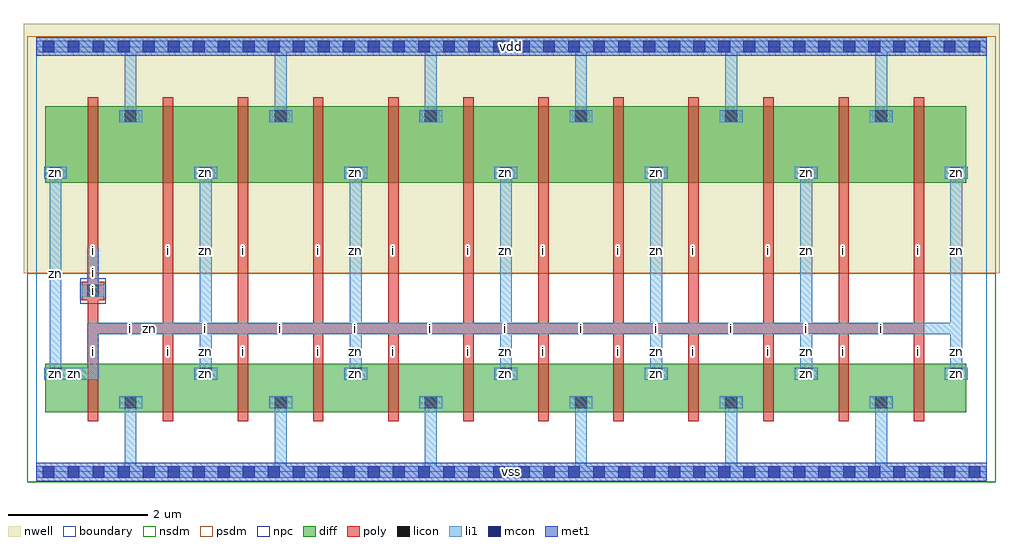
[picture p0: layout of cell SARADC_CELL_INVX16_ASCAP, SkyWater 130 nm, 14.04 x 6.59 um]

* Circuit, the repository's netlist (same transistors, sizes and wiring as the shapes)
* SARADC_CELL_INVX16_ASCAP (INVD12 of sky130f), cells/tools/build_cells.py
.SUBCKT SARADC_CELL_INVX16_ASCAP i vdd vss zn vnw vpw
MU1_M_u2_0 zn i vss vpw sky130_fd_pr__nfet_01v8 l=1.500e-07 w=7.000e-07 $pos=0 $flip=0
MU1_M_u2_1 zn i vss vpw sky130_fd_pr__nfet_01v8 l=1.500e-07 w=7.000e-07 $pos=1 $flip=1
MU1_M_u2_2 zn i vss vpw sky130_fd_pr__nfet_01v8 l=1.500e-07 w=7.000e-07 $pos=2 $flip=0
MU1_M_u2_3 zn i vss vpw sky130_fd_pr__nfet_01v8 l=1.500e-07 w=7.000e-07 $pos=3 $flip=1
MU1_M_u2_4 zn i vss vpw sky130_fd_pr__nfet_01v8 l=1.500e-07 w=7.000e-07 $pos=4 $flip=0
MU1_M_u2_5 zn i vss vpw sky130_fd_pr__nfet_01v8 l=1.500e-07 w=7.000e-07 $pos=5 $flip=1
MU1_M_u2_6 zn i vss vpw sky130_fd_pr__nfet_01v8 l=1.500e-07 w=7.000e-07 $pos=6 $flip=0
MU1_M_u2_7 zn i vss vpw sky130_fd_pr__nfet_01v8 l=1.500e-07 w=7.000e-07 $pos=7 $flip=1
MU1_M_u2_8 zn i vss vpw sky130_fd_pr__nfet_01v8 l=1.500e-07 w=7.000e-07 $pos=8 $flip=0
MU1_M_u2_9 zn i vss vpw sky130_fd_pr__nfet_01v8 l=1.500e-07 w=7.000e-07 $pos=9 $flip=1
MU1_M_u2_10 zn i vss vpw sky130_fd_pr__nfet_01v8 l=1.500e-07 w=7.000e-07 $pos=10 $flip=0
MU1_M_u2_11 zn i vss vpw sky130_fd_pr__nfet_01v8 l=1.500e-07 w=7.000e-07 $pos=11 $flip=1
MU1_M_u3_0 zn i vdd vnw sky130_fd_pr__pfet_01v8 l=1.500e-07 w=1.100e-06 $pos=0 $flip=0
MU1_M_u3_1 zn i vdd vnw sky130_fd_pr__pfet_01v8 l=1.500e-07 w=1.100e-06 $pos=1 $flip=1
MU1_M_u3_2 zn i vdd vnw sky130_fd_pr__pfet_01v8 l=1.500e-07 w=1.100e-06 $pos=2 $flip=0
MU1_M_u3_3 zn i vdd vnw sky130_fd_pr__pfet_01v8 l=1.500e-07 w=1.100e-06 $pos=3 $flip=1
MU1_M_u3_4 zn i vdd vnw sky130_fd_pr__pfet_01v8 l=1.500e-07 w=1.100e-06 $pos=4 $flip=0
MU1_M_u3_5 zn i vdd vnw sky130_fd_pr__pfet_01v8 l=1.500e-07 w=1.100e-06 $pos=5 $flip=1
MU1_M_u3_6 zn i vdd vnw sky130_fd_pr__pfet_01v8 l=1.500e-07 w=1.100e-06 $pos=6 $flip=0
MU1_M_u3_7 zn i vdd vnw sky130_fd_pr__pfet_01v8 l=1.500e-07 w=1.100e-06 $pos=7 $flip=1
MU1_M_u3_8 zn i vdd vnw sky130_fd_pr__pfet_01v8 l=1.500e-07 w=1.100e-06 $pos=8 $flip=0
MU1_M_u3_9 zn i vdd vnw sky130_fd_pr__pfet_01v8 l=1.500e-07 w=1.100e-06 $pos=9 $flip=1
MU1_M_u3_10 zn i vdd vnw sky130_fd_pr__pfet_01v8 l=1.500e-07 w=1.100e-06 $pos=10 $flip=0
MU1_M_u3_11 zn i vdd vnw sky130_fd_pr__pfet_01v8 l=1.500e-07 w=1.100e-06 $pos=11 $flip=1
.ENDS

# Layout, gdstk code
import gdstk
lib = gdstk.Library(unit=1e-6, precision=1e-09)
def R(c, l, rs):  # rectangles x0, y0, x1, y1
    for r in rs: c.add(gdstk.rectangle(r[:2], r[2:], *l))
def A(c, l, x, y, w, h, nx, ny, dx, dy):  # array of equal rectangles
    R(c, l, [(x+i*dx, y+j*dy, x+i*dx+w, y+j*dy+h) for i in range(nx) for j in range(ny)])
L0_0 = (0, 0)
nwell = (64, 20)
diff = (65, 20)
poly = (66, 20)
licon = (66, 44)
li1 = (67, 20)
mcon = (67, 44)
met1 = (68, 20)
nsdm = (93, 44)
psdm = (94, 20)
npc = (95, 20)
boundary = (235, 4)

saradc_cell_invx16_ascap = lib.new_cell('SARADC_CELL_INVX16_ASCAP')
R(saradc_cell_invx16_ascap, nwell, [(-0.18,2.86,13.86,6.445)])
A(saradc_cell_invx16_ascap, diff, 0.135, 0.86, 1.37, 0.7, 12, 1, 1.08, 0)
A(saradc_cell_invx16_ascap, diff, 1.215, 0.86, 0.29, 0.29, 6, 2, 2.16, 4.11)
A(saradc_cell_invx16_ascap, diff, 0.135, 1.27, 0.29, 0.29, 7, 2, 2.16, 2.89)
A(saradc_cell_invx16_ascap, diff, 0.135, 4.16, 1.37, 1.1, 12, 1, 1.08, 0)
A(saradc_cell_invx16_ascap, poly, 0.745, 0.73, 0.15, 0.96, 12, 1, 1.08, 0)
A(saradc_cell_invx16_ascap, poly, 0.745, 1.34, 0.15, 0.8, 12, 1, 1.08, 0)
A(saradc_cell_invx16_ascap, poly, 0.745, 1.99, 1.23, 0.15, 11, 1, 1.08, 0)
A(saradc_cell_invx16_ascap, poly, 0.745, 1.99, 0.15, 2.39, 12, 1, 1.08, 0)
A(saradc_cell_invx16_ascap, poly, 0.745, 4.03, 0.15, 1.36, 12, 1, 1.08, 0)
R(saradc_cell_invx16_ascap, poly, [(0.655,2.47,0.985,2.74)])
A(saradc_cell_invx16_ascap, licon, 1.275, 0.92, 0.17, 0.17, 6, 2, 2.16, 4.11)
A(saradc_cell_invx16_ascap, licon, 0.195, 1.33, 0.17, 0.17, 7, 2, 2.16, 2.89)
R(saradc_cell_invx16_ascap, licon, [(0.735,2.52,0.905,2.69)])
A(saradc_cell_invx16_ascap, li1, 1.275, 0.06, 0.17, 1.03, 6, 2, 2.16, 4.97)
A(saradc_cell_invx16_ascap, li1, 1.195, 0.92, 0.33, 0.17, 6, 2, 2.16, 4.11)
A(saradc_cell_invx16_ascap, li1, 0.115, 1.33, 0.33, 0.17, 7, 2, 2.16, 2.89)
A(saradc_cell_invx16_ascap, li1, 2.355, 1.33, 0.17, 0.82, 6, 1, 2.16, 0)
A(saradc_cell_invx16_ascap, li1, 2.355, 1.98, 2.33, 0.17, 5, 1, 2.16, 0)
A(saradc_cell_invx16_ascap, li1, 2.355, 1.98, 0.17, 2.41, 6, 1, 2.16, 0)
R(saradc_cell_invx16_ascap, li1, [(0,-0.085,13.68,0.085), (0.195,1.33,0.905,1.5), (0.195,1.33,0.365,4.39), (0.735,1.33,0.905,2.15), (0.735,1.98,2.525,2.15), (0.655,2.52,0.985,2.69), (0.735,2.52,0.905,3.23), (0,6.035,13.68,6.205)])
A(saradc_cell_invx16_ascap, mcon, 0.095, -0.085, 0.17, 0.17, 38, 2, 0.36, 6.12)
R(saradc_cell_invx16_ascap, met1, [(0,-0.135,13.68,0.135), (0,5.985,13.68,6.255)])
R(saradc_cell_invx16_ascap, nsdm, [(-0.125,-0.145,13.805,0.145), (-0.125,0.145,13.805,2.86)])
R(saradc_cell_invx16_ascap, psdm, [(-0.125,2.86,13.805,5.975), (-0.125,5.975,13.805,6.265)])
R(saradc_cell_invx16_ascap, npc, [(0.635,2.42,1.005,2.79)])
R(saradc_cell_invx16_ascap, boundary, [(0,0,13.68,6.12)])
saradc_cell_invx16_ascap.add(gdstk.FlexPath([(0.115,0.355),(13.405,0.355)], 0, ends="flush", simple_path=True, layer=0, datatype=0))  # L0_0
saradc_cell_invx16_ascap.add(gdstk.FlexPath([(0.115,1.005),(13.405,1.005)], 0, ends="flush", simple_path=True, layer=0, datatype=0))  # L0_0
saradc_cell_invx16_ascap.add(gdstk.FlexPath([(0.115,1.415),(13.405,1.415)], 0, ends="flush", simple_path=True, layer=0, datatype=0))  # L0_0
saradc_cell_invx16_ascap.add(gdstk.FlexPath([(0.115,2.065),(13.405,2.065)], 0, ends="flush", simple_path=True, layer=0, datatype=0))  # L0_0
saradc_cell_invx16_ascap.add(gdstk.FlexPath([(0.115,2.605),(13.405,2.605)], 0, ends="flush", simple_path=True, layer=0, datatype=0))  # L0_0
saradc_cell_invx16_ascap.add(gdstk.FlexPath([(0.115,3.145),(13.405,3.145)], 0, ends="flush", simple_path=True, layer=0, datatype=0))  # L0_0
saradc_cell_invx16_ascap.add(gdstk.FlexPath([(0.115,4.305),(13.405,4.305)], 0, ends="flush", simple_path=True, layer=0, datatype=0))  # L0_0
saradc_cell_invx16_ascap.add(gdstk.FlexPath([(0.115,4.775),(13.405,4.775)], 0, ends="flush", simple_path=True, layer=0, datatype=0))  # L0_0
saradc_cell_invx16_ascap.add(gdstk.FlexPath([(0.115,5.115),(13.405,5.115)], 0, ends="flush", simple_path=True, layer=0, datatype=0))  # L0_0
saradc_cell_invx16_ascap.add(gdstk.FlexPath([(0.115,5.765),(13.405,5.765)], 0, ends="flush", simple_path=True, layer=0, datatype=0))  # L0_0
saradc_cell_invx16_ascap.add(gdstk.FlexPath([(0.28,0.06),(0.28,6.06)], 0, ends="flush", simple_path=True, layer=0, datatype=0))  # L0_0
saradc_cell_invx16_ascap.add(gdstk.FlexPath([(0.82,0.06),(0.82,6.06)], 0, ends="flush", simple_path=True, layer=0, datatype=0))  # L0_0
saradc_cell_invx16_ascap.add(gdstk.FlexPath([(1.36,0.06),(1.36,6.06)], 0, ends="flush", simple_path=True, layer=0, datatype=0))  # L0_0
saradc_cell_invx16_ascap.add(gdstk.FlexPath([(1.9,0.06),(1.9,6.06)], 0, ends="flush", simple_path=True, layer=0, datatype=0))  # L0_0
saradc_cell_invx16_ascap.add(gdstk.FlexPath([(2.44,0.06),(2.44,6.06)], 0, ends="flush", simple_path=True, layer=0, datatype=0))  # L0_0
saradc_cell_invx16_ascap.add(gdstk.FlexPath([(2.98,0.06),(2.98,6.06)], 0, ends="flush", simple_path=True, layer=0, datatype=0))  # L0_0
saradc_cell_invx16_ascap.add(gdstk.FlexPath([(3.52,0.06),(3.52,6.06)], 0, ends="flush", simple_path=True, layer=0, datatype=0))  # L0_0
saradc_cell_invx16_ascap.add(gdstk.FlexPath([(4.06,0.06),(4.06,6.06)], 0, ends="flush", simple_path=True, layer=0, datatype=0))  # L0_0
saradc_cell_invx16_ascap.add(gdstk.FlexPath([(4.6,0.06),(4.6,6.06)], 0, ends="flush", simple_path=True, layer=0, datatype=0))  # L0_0
saradc_cell_invx16_ascap.add(gdstk.FlexPath([(5.14,0.06),(5.14,6.06)], 0, ends="flush", simple_path=True, layer=0, datatype=0))  # L0_0
saradc_cell_invx16_ascap.add(gdstk.FlexPath([(5.68,0.06),(5.68,6.06)], 0, ends="flush", simple_path=True, layer=0, datatype=0))  # L0_0
saradc_cell_invx16_ascap.add(gdstk.FlexPath([(6.22,0.06),(6.22,6.06)], 0, ends="flush", simple_path=True, layer=0, datatype=0))  # L0_0
saradc_cell_invx16_ascap.add(gdstk.FlexPath([(6.76,0.06),(6.76,6.06)], 0, ends="flush", simple_path=True, layer=0, datatype=0))  # L0_0
saradc_cell_invx16_ascap.add(gdstk.FlexPath([(7.3,0.06),(7.3,6.06)], 0, ends="flush", simple_path=True, layer=0, datatype=0))  # L0_0
saradc_cell_invx16_ascap.add(gdstk.FlexPath([(7.84,0.06),(7.84,6.06)], 0, ends="flush", simple_path=True, layer=0, datatype=0))  # L0_0
saradc_cell_invx16_ascap.add(gdstk.FlexPath([(8.38,0.06),(8.38,6.06)], 0, ends="flush", simple_path=True, layer=0, datatype=0))  # L0_0
saradc_cell_invx16_ascap.add(gdstk.FlexPath([(8.92,0.06),(8.92,6.06)], 0, ends="flush", simple_path=True, layer=0, datatype=0))  # L0_0
saradc_cell_invx16_ascap.add(gdstk.FlexPath([(9.46,0.06),(9.46,6.06)], 0, ends="flush", simple_path=True, layer=0, datatype=0))  # L0_0
saradc_cell_invx16_ascap.add(gdstk.FlexPath([(10,0.06),(10,6.06)], 0, ends="flush", simple_path=True, layer=0, datatype=0))  # L0_0
saradc_cell_invx16_ascap.add(gdstk.FlexPath([(10.54,0.06),(10.54,6.06)], 0, ends="flush", simple_path=True, layer=0, datatype=0))  # L0_0
saradc_cell_invx16_ascap.add(gdstk.FlexPath([(11.08,0.06),(11.08,6.06)], 0, ends="flush", simple_path=True, layer=0, datatype=0))  # L0_0
saradc_cell_invx16_ascap.add(gdstk.FlexPath([(11.62,0.06),(11.62,6.06)], 0, ends="flush", simple_path=True, layer=0, datatype=0))  # L0_0
saradc_cell_invx16_ascap.add(gdstk.FlexPath([(12.16,0.06),(12.16,6.06)], 0, ends="flush", simple_path=True, layer=0, datatype=0))  # L0_0
saradc_cell_invx16_ascap.add(gdstk.FlexPath([(12.7,0.06),(12.7,6.06)], 0, ends="flush", simple_path=True, layer=0, datatype=0))  # L0_0
saradc_cell_invx16_ascap.add(gdstk.FlexPath([(13.24,0.06),(13.24,6.06)], 0, ends="flush", simple_path=True, layer=0, datatype=0))  # L0_0
saradc_cell_invx16_ascap.add(gdstk.Label('zn', (0.28,1.415), layer=65, texttype=20))
saradc_cell_invx16_ascap.add(gdstk.Label('zn', (2.44,1.415), layer=65, texttype=20))
saradc_cell_invx16_ascap.add(gdstk.Label('zn', (4.6,1.415), layer=65, texttype=20))
saradc_cell_invx16_ascap.add(gdstk.Label('zn', (6.76,1.415), layer=65, texttype=20))
saradc_cell_invx16_ascap.add(gdstk.Label('zn', (8.92,1.415), layer=65, texttype=20))
saradc_cell_invx16_ascap.add(gdstk.Label('zn', (11.08,1.415), layer=65, texttype=20))
saradc_cell_invx16_ascap.add(gdstk.Label('zn', (13.24,1.415), layer=65, texttype=20))
saradc_cell_invx16_ascap.add(gdstk.Label('zn', (0.28,4.305), layer=65, texttype=20))
saradc_cell_invx16_ascap.add(gdstk.Label('zn', (2.44,4.305), layer=65, texttype=20))
saradc_cell_invx16_ascap.add(gdstk.Label('zn', (4.6,4.305), layer=65, texttype=20))
saradc_cell_invx16_ascap.add(gdstk.Label('zn', (6.76,4.305), layer=65, texttype=20))
saradc_cell_invx16_ascap.add(gdstk.Label('zn', (8.92,4.305), layer=65, texttype=20))
saradc_cell_invx16_ascap.add(gdstk.Label('zn', (11.08,4.305), layer=65, texttype=20))
saradc_cell_invx16_ascap.add(gdstk.Label('zn', (13.24,4.305), layer=65, texttype=20))
saradc_cell_invx16_ascap.add(gdstk.Label('i', (0.82,1.74), layer=66, texttype=20))
saradc_cell_invx16_ascap.add(gdstk.Label('i', (1.36,2.065), layer=66, texttype=20))
saradc_cell_invx16_ascap.add(gdstk.Label('i', (1.9,1.74), layer=66, texttype=20))
saradc_cell_invx16_ascap.add(gdstk.Label('i', (2.44,2.065), layer=66, texttype=20))
saradc_cell_invx16_ascap.add(gdstk.Label('i', (2.98,1.74), layer=66, texttype=20))
saradc_cell_invx16_ascap.add(gdstk.Label('i', (3.52,2.065), layer=66, texttype=20))
saradc_cell_invx16_ascap.add(gdstk.Label('i', (4.06,1.74), layer=66, texttype=20))
saradc_cell_invx16_ascap.add(gdstk.Label('i', (4.6,2.065), layer=66, texttype=20))
saradc_cell_invx16_ascap.add(gdstk.Label('i', (5.14,1.74), layer=66, texttype=20))
saradc_cell_invx16_ascap.add(gdstk.Label('i', (5.68,2.065), layer=66, texttype=20))
saradc_cell_invx16_ascap.add(gdstk.Label('i', (6.22,1.74), layer=66, texttype=20))
saradc_cell_invx16_ascap.add(gdstk.Label('i', (6.76,2.065), layer=66, texttype=20))
saradc_cell_invx16_ascap.add(gdstk.Label('i', (7.3,1.74), layer=66, texttype=20))
saradc_cell_invx16_ascap.add(gdstk.Label('i', (7.84,2.065), layer=66, texttype=20))
saradc_cell_invx16_ascap.add(gdstk.Label('i', (8.38,1.74), layer=66, texttype=20))
saradc_cell_invx16_ascap.add(gdstk.Label('i', (8.92,2.065), layer=66, texttype=20))
saradc_cell_invx16_ascap.add(gdstk.Label('i', (9.46,1.74), layer=66, texttype=20))
saradc_cell_invx16_ascap.add(gdstk.Label('i', (10,2.065), layer=66, texttype=20))
saradc_cell_invx16_ascap.add(gdstk.Label('i', (10.54,1.74), layer=66, texttype=20))
saradc_cell_invx16_ascap.add(gdstk.Label('i', (11.08,2.065), layer=66, texttype=20))
saradc_cell_invx16_ascap.add(gdstk.Label('i', (11.62,1.74), layer=66, texttype=20))
saradc_cell_invx16_ascap.add(gdstk.Label('i', (12.16,2.065), layer=66, texttype=20))
saradc_cell_invx16_ascap.add(gdstk.Label('i', (12.7,1.74), layer=66, texttype=20))
saradc_cell_invx16_ascap.add(gdstk.Label('i', (0.82,3.185), layer=66, texttype=20))
saradc_cell_invx16_ascap.add(gdstk.Label('i', (1.9,3.185), layer=66, texttype=20))
saradc_cell_invx16_ascap.add(gdstk.Label('i', (2.98,3.185), layer=66, texttype=20))
saradc_cell_invx16_ascap.add(gdstk.Label('i', (4.06,3.185), layer=66, texttype=20))
saradc_cell_invx16_ascap.add(gdstk.Label('i', (5.14,3.185), layer=66, texttype=20))
saradc_cell_invx16_ascap.add(gdstk.Label('i', (6.22,3.185), layer=66, texttype=20))
saradc_cell_invx16_ascap.add(gdstk.Label('i', (7.3,3.185), layer=66, texttype=20))
saradc_cell_invx16_ascap.add(gdstk.Label('i', (8.38,3.185), layer=66, texttype=20))
saradc_cell_invx16_ascap.add(gdstk.Label('i', (9.46,3.185), layer=66, texttype=20))
saradc_cell_invx16_ascap.add(gdstk.Label('i', (10.54,3.185), layer=66, texttype=20))
saradc_cell_invx16_ascap.add(gdstk.Label('i', (11.62,3.185), layer=66, texttype=20))
saradc_cell_invx16_ascap.add(gdstk.Label('i', (12.7,3.185), layer=66, texttype=20))
saradc_cell_invx16_ascap.add(gdstk.Label('i', (0.82,2.605), layer=66, texttype=20))
saradc_cell_invx16_ascap.add(gdstk.Label('zn', (0.28,1.415), layer=66, texttype=44))
saradc_cell_invx16_ascap.add(gdstk.Label('zn', (2.44,1.415), layer=66, texttype=44))
saradc_cell_invx16_ascap.add(gdstk.Label('zn', (4.6,1.415), layer=66, texttype=44))
saradc_cell_invx16_ascap.add(gdstk.Label('zn', (6.76,1.415), layer=66, texttype=44))
saradc_cell_invx16_ascap.add(gdstk.Label('zn', (8.92,1.415), layer=66, texttype=44))
saradc_cell_invx16_ascap.add(gdstk.Label('zn', (11.08,1.415), layer=66, texttype=44))
saradc_cell_invx16_ascap.add(gdstk.Label('zn', (13.24,1.415), layer=66, texttype=44))
saradc_cell_invx16_ascap.add(gdstk.Label('zn', (0.28,4.305), layer=66, texttype=44))
saradc_cell_invx16_ascap.add(gdstk.Label('zn', (2.44,4.305), layer=66, texttype=44))
saradc_cell_invx16_ascap.add(gdstk.Label('zn', (4.6,4.305), layer=66, texttype=44))
saradc_cell_invx16_ascap.add(gdstk.Label('zn', (6.76,4.305), layer=66, texttype=44))
saradc_cell_invx16_ascap.add(gdstk.Label('zn', (8.92,4.305), layer=66, texttype=44))
saradc_cell_invx16_ascap.add(gdstk.Label('zn', (11.08,4.305), layer=66, texttype=44))
saradc_cell_invx16_ascap.add(gdstk.Label('zn', (13.24,4.305), layer=66, texttype=44))
saradc_cell_invx16_ascap.add(gdstk.Label('i', (0.82,2.605), layer=66, texttype=44))
saradc_cell_invx16_ascap.add(gdstk.Label('zn', (0.28,1.415), layer=67, texttype=5))
saradc_cell_invx16_ascap.add(gdstk.Label('zn', (2.44,1.415), layer=67, texttype=5))
saradc_cell_invx16_ascap.add(gdstk.Label('zn', (4.6,1.415), layer=67, texttype=5))
saradc_cell_invx16_ascap.add(gdstk.Label('zn', (6.76,1.415), layer=67, texttype=5))
saradc_cell_invx16_ascap.add(gdstk.Label('zn', (8.92,1.415), layer=67, texttype=5))
saradc_cell_invx16_ascap.add(gdstk.Label('zn', (11.08,1.415), layer=67, texttype=5))
saradc_cell_invx16_ascap.add(gdstk.Label('zn', (13.24,1.415), layer=67, texttype=5))
saradc_cell_invx16_ascap.add(gdstk.Label('zn', (0.28,4.305), layer=67, texttype=5))
saradc_cell_invx16_ascap.add(gdstk.Label('zn', (2.44,4.305), layer=67, texttype=5))
saradc_cell_invx16_ascap.add(gdstk.Label('zn', (4.6,4.305), layer=67, texttype=5))
saradc_cell_invx16_ascap.add(gdstk.Label('zn', (6.76,4.305), layer=67, texttype=5))
saradc_cell_invx16_ascap.add(gdstk.Label('zn', (8.92,4.305), layer=67, texttype=5))
saradc_cell_invx16_ascap.add(gdstk.Label('zn', (11.08,4.305), layer=67, texttype=5))
saradc_cell_invx16_ascap.add(gdstk.Label('zn', (13.24,4.305), layer=67, texttype=5))
saradc_cell_invx16_ascap.add(gdstk.Label('zn', (0.55,1.415), layer=67, texttype=5))
saradc_cell_invx16_ascap.add(gdstk.Label('zn', (0.82,1.74), layer=67, texttype=5))
saradc_cell_invx16_ascap.add(gdstk.Label('zn', (1.63,2.065), layer=67, texttype=5))
saradc_cell_invx16_ascap.add(gdstk.Label('zn', (2.44,1.74), layer=67, texttype=5))
saradc_cell_invx16_ascap.add(gdstk.Label('zn', (3.52,2.065), layer=67, texttype=5))
saradc_cell_invx16_ascap.add(gdstk.Label('zn', (4.6,1.74), layer=67, texttype=5))
saradc_cell_invx16_ascap.add(gdstk.Label('zn', (5.68,2.065), layer=67, texttype=5))
saradc_cell_invx16_ascap.add(gdstk.Label('zn', (6.76,1.74), layer=67, texttype=5))
saradc_cell_invx16_ascap.add(gdstk.Label('zn', (7.84,2.065), layer=67, texttype=5))
saradc_cell_invx16_ascap.add(gdstk.Label('zn', (8.92,1.74), layer=67, texttype=5))
saradc_cell_invx16_ascap.add(gdstk.Label('zn', (10,2.065), layer=67, texttype=5))
saradc_cell_invx16_ascap.add(gdstk.Label('zn', (11.08,1.74), layer=67, texttype=5))
saradc_cell_invx16_ascap.add(gdstk.Label('zn', (12.16,2.065), layer=67, texttype=5))
saradc_cell_invx16_ascap.add(gdstk.Label('zn', (13.24,1.74), layer=67, texttype=5))
saradc_cell_invx16_ascap.add(gdstk.Label('zn', (0.28,2.86), layer=67, texttype=5))
saradc_cell_invx16_ascap.add(gdstk.Label('zn', (2.44,3.185), layer=67, texttype=5))
saradc_cell_invx16_ascap.add(gdstk.Label('zn', (4.6,3.185), layer=67, texttype=5))
saradc_cell_invx16_ascap.add(gdstk.Label('zn', (6.76,3.185), layer=67, texttype=5))
saradc_cell_invx16_ascap.add(gdstk.Label('zn', (8.92,3.185), layer=67, texttype=5))
saradc_cell_invx16_ascap.add(gdstk.Label('zn', (11.08,3.185), layer=67, texttype=5))
saradc_cell_invx16_ascap.add(gdstk.Label('zn', (13.24,3.185), layer=67, texttype=5))
saradc_cell_invx16_ascap.add(gdstk.Label('i', (0.82,2.605), layer=67, texttype=5))
saradc_cell_invx16_ascap.add(gdstk.Label('i', (0.82,2.875), layer=67, texttype=5))
saradc_cell_invx16_ascap.add(gdstk.Label('vss', (6.84,0), layer=67, texttype=5))
saradc_cell_invx16_ascap.add(gdstk.Label('vdd', (6.84,6.12), layer=67, texttype=5))
saradc_cell_invx16_ascap.add(gdstk.Label('vss', (6.84,0), layer=68, texttype=5))
saradc_cell_invx16_ascap.add(gdstk.Label('vdd', (6.84,6.12), layer=68, texttype=5))

lib.write_gds('SARADC_CELL_INVX16_ASCAP.gds')
